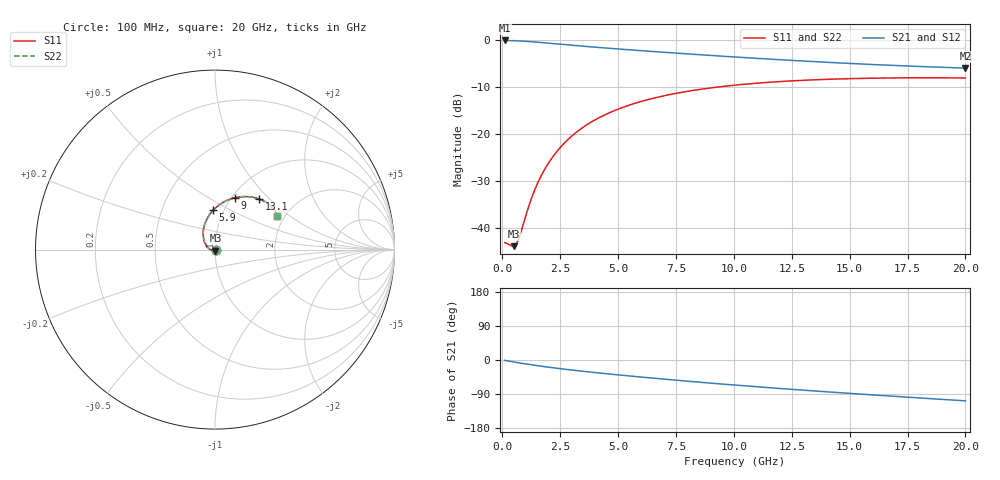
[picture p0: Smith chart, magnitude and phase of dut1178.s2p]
! Touchstone file exported from HFSS 2024.1.0
!  File:  C:/UserFiles/LocalFiles/RDL_TSV_Batchsim/temp_RDL_TSV_1178_1780125045.aedt
!  Generated:  03:28:19 PM May 30, 2026
!  Design:  RDL_TSV
!  Project:  temp_RDL_TSV_1178_1780125045
!  Setup:  Setup1
!  Solution:  Sweep
! Variables:
!  dtsv = 8.15um
!  hbump = 3um
!  htsv = 84.55um
!  ldown = 164.51um
!  lrdl = 151.77um
!  p = 40
!  p1 = 54.31um
!  rhole = 10um
!  subl = 1100.61um
!  t = 450um
!  tdown = 3.64um
!  trdl = 5um
!  viad = 10um
!  wdown = 20.26um
!  wrdl = 12.63um
!  xbump = 18um
# GHz S MA R 50.000000
! Terminal data exported
! Port[1] = TM1_1_T1
! Port[2] = TM1_4_T1
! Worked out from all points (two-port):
!   200 points, 100 MHz to 20 GHz, reference 50 ohm
!   highest |S21| = -0.06 dB at 100 MHz (marker M1); lowest = -6.0 dB at 20 GHz (marker M2)
!   |S21| within 3 dB of the highest: start of sweep to 8.41 GHz
!   lowest |S11| = -43.9 dB at 500 MHz (marker M3), VSWR 1.01, Z = 50.2 - j0.598 ohm
!   |S11| at or under -10 dB: start of sweep to 9.285 GHz
!   |S22| runs from -43.9 to -8.0 dB; largest |S21 - S12| = 9.1e-15
!   S11 on the Smith chart (normalised r, x): 100 MHz: 1.01, -0.00; 5.9 GHz: 0.89, +0.41; 9 GHz: 1.04, +0.66; 13.1 GHz: 1.33, +0.87; 20 GHz: 1.83, +0.82
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0.1  0.006966 -10.2  0.9927 -1.1  0.9927 -1.1  0.006966 -10.2
! Gamma 0 0 0 0
! Port Impedance 50 0 50 0
0.5  0.006386 -68.7  0.987 -5.2  0.987 -5.2  0.006387 -68.7
0.6  0.006706 -88.5  0.9847 -6.3  0.9847 -6.3  0.006706 -88.5
0.7  0.00754 -107.8  0.9821 -7.3  0.9821 -7.3  0.007541 -107.8
1.1  0.01577 -158.6  0.9687 -11.2  0.9687 -11.2  0.01577 -158.6
1.4  0.02534 -178.2  0.9565 -13.9  0.9565 -13.9  0.02534 -178.2
1.6  0.03274 172.4  0.9476 -15.7  0.9476 -15.7  0.03274 172.4
1.9  0.04492 161.1  0.9338 -18.2  0.9338 -18.2  0.04493 161.1
2.2  0.05802 151.8  0.9197 -20.6  0.9197 -20.6  0.05804 151.9
2.6  0.07633 141.6  0.9012 -23.6  0.9012 -23.6  0.07635 141.6
3  0.09504 132.9  0.8833 -26.5  0.8833 -26.5  0.09508 132.9
3.5  0.1184 123.7  0.862 -29.9  0.862 -29.9  0.1184 123.7
4  0.1412 115.7  0.8421 -33.1  0.8421 -33.1  0.1412 115.7
4.6  0.1674 107.5  0.8197 -36.9  0.8197 -36.9  0.1675 107.5
5.9  0.2188 92.9  0.7758 -44.5  0.7758 -44.5  0.2189 93.0
6.8  0.2497 84.8  0.7481 -49.5  0.7481 -49.5  0.2498 84.8
9  0.3099 68.9  0.6874 -61.0  0.6874 -61.0  0.31 68.9
10.1  0.3327 62.5  0.6603 -66.4  0.6603 -66.4  0.3328 62.6
13.1  0.3746 48.6  0.5972 -80.1  0.5972 -80.1  0.3747 48.6
13.4  0.3774 47.4  0.5917 -81.4  0.5917 -81.4  0.3776 47.5
16.7  0.3955 36.5  0.5404 -95.0  0.5404 -95.0  0.3958 36.6
20  0.3956 28.6  0.5038 -107.8  0.5038 -107.8  0.3958 28.6
